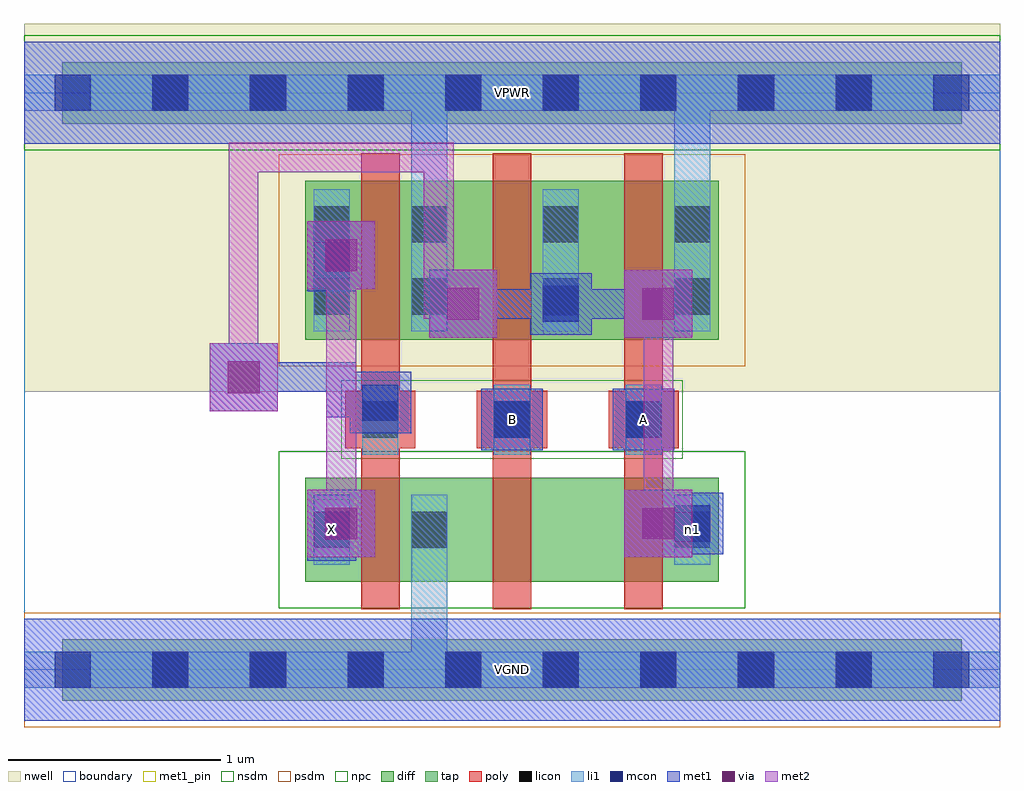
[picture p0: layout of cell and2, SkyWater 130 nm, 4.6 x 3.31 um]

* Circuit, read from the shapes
.subckt and2 A B VGND VPWR X n1
XM1 VGND n1 X VGND sky130_fd_pr__nfet_01v8 w=0.49 l=0.18
XM2 n2 B VGND VGND sky130_fd_pr__nfet_01v8 w=0.49 l=0.18
XM3 n1 A n2 VGND sky130_fd_pr__nfet_01v8 w=0.49 l=0.18
XM4 VPWR n1 X VPWR sky130_fd_pr__pfet_01v8 w=0.75 l=0.18
XM5 n1 B VPWR VPWR sky130_fd_pr__pfet_01v8 w=0.75 l=0.18
XM6 VPWR A n1 VPWR sky130_fd_pr__pfet_01v8 w=0.75 l=0.18
.ends

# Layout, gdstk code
import gdstk
lib = gdstk.Library(unit=1e-6, precision=1e-09)
def R(c, l, rs):  # rectangles x0, y0, x1, y1
    for r in rs: c.add(gdstk.rectangle(r[:2], r[2:], *l))
def A(c, l, x, y, w, h, nx, ny, dx, dy):  # array of equal rectangles
    R(c, l, [(x+i*dx, y+j*dy, x+i*dx+w, y+j*dy+h) for i in range(nx) for j in range(ny)])
nwell = (64, 20)
diff = (65, 20)
tap = (65, 44)
poly = (66, 20)
licon = (66, 44)
li1 = (67, 20)
mcon = (67, 44)
met1_pin = (68, 16)
met1 = (68, 20)
via = (68, 44)
met2 = (69, 20)
nsdm = (93, 44)
psdm = (94, 20)
npc = (95, 20)
boundary = (235, 4)

and2 = lib.new_cell('and2')
R(and2, nwell, [(0,1.31,4.6,3.045)])
R(and2, diff, [(1.325,0.415,3.275,0.905), (1.325,1.555,3.275,2.305)])
R(and2, tap, [(0.18,-0.145,4.42,0.145), (0.18,2.575,4.42,2.865)])
A(and2, poly, 1.59, 0.285, 0.18, 2.15, 3, 1, 0.62, 0)
A(and2, poly, 1.515, 1.045, 0.33, 0.27, 3, 1, 0.62, 0)
A(and2, licon, 0.605, -0.085, 0.17, 0.17, 8, 2, 0.46, 2.72)
A(and2, licon, 1.595, 1.095, 0.17, 0.17, 3, 1, 0.62, 0)
A(and2, licon, 1.825, 1.675, 0.17, 0.17, 3, 2, 0.62, 0.34)
R(and2, licon, [(1.365,0.575,1.535,0.745), (1.825,0.575,1.995,0.745), (3.065,0.575,3.235,0.745), (1.365,1.675,1.535,1.845), (1.365,2.015,1.535,2.185)])
A(and2, li1, 1.595, 1.015, 0.17, 0.33, 3, 1, 0.62, 0)
A(and2, li1, 1.825, 1.595, 0.17, 0.67, 3, 1, 0.62, 0)
R(and2, li1, [(0,-0.085,4.6,0.085), (1.825,-0.085,1.995,0.825), (1.365,0.495,1.535,0.825), (1.825,0.495,1.995,0.825), (3.065,0.495,3.235,0.825), (1.365,1.595,1.535,2.265), (1.825,1.595,1.995,2.805), (3.065,1.595,3.235,2.805), (0,2.635,4.6,2.805)])
A(and2, mcon, 0.145, -0.085, 0.17, 0.17, 10, 2, 0.46, 2.72)
R(and2, mcon, [(1.365,0.575,1.535,0.745), (3.065,0.605,3.235,0.775), (2.215,1.095,2.385,1.265), (2.835,1.095,3.005,1.265), (1.595,1.175,1.765,1.345), (2.445,1.64,2.615,1.81), (1.365,1.845,1.535,2.015)])
R(and2, met1_pin, [(0,-0.24,4.6,0.24), (1.335,0.515,1.565,0.805), (2.155,1.035,2.445,1.325), (2.775,1.035,3.065,1.325), (0,2.48,4.6,2.96)])
R(and2, met1, [(0,-0.24,4.6,0.24), (1.335,0.515,1.565,0.805), (1.335,0.53,1.655,0.85), (2.83,0.53,3.15,0.85), (3.005,0.545,3.295,0.835), (1.425,0.62,1.565,0.76), (2.92,0.62,3.22,0.76), (2.155,1.035,2.445,1.325), (2.775,1.035,3.065,1.325), (1.535,1.115,1.825,1.405), (1.425,1.19,1.75,1.33), (1.425,1.19,1.565,1.45), (0.875,1.22,1.195,1.54), (0.965,1.31,1.565,1.45), (1.91,1.565,2.23,1.885), (2.83,1.565,3.15,1.885), (2.385,1.58,2.675,1.87), (2,1.655,2.6,1.795), (2.46,1.655,3.06,1.795), (1.335,1.785,1.565,2.075), (1.335,1.795,1.655,2.115), (1.425,1.885,1.565,2.025), (0,2.48,4.6,2.96)])
R(and2, via, [(1.42,0.615,1.57,0.765), (2.915,0.615,3.065,0.765), (0.96,1.305,1.11,1.455), (1.995,1.65,2.145,1.8), (2.915,1.65,3.065,1.8), (1.42,1.88,1.57,2.03)])
R(and2, met2, [(1.335,0.53,1.655,0.85), (2.83,0.53,3.15,0.85), (1.425,0.62,1.565,2.025), (2.92,0.62,3.06,1.795), (0.875,1.22,1.195,1.54), (0.965,1.31,1.105,2.485), (1.91,1.565,2.23,1.885), (2.83,1.565,3.15,1.885), (1.885,1.655,2.14,1.795), (1.885,1.655,2.025,2.485), (1.335,1.795,1.655,2.115), (0.965,2.345,2.025,2.485)])
R(and2, nsdm, [(1.2,0.29,3.4,1.03), (0,2.45,4.6,2.99)])
R(and2, psdm, [(0,-0.27,4.6,0.27), (1.2,1.43,3.4,2.43)])
R(and2, npc, [(1.495,0.995,3.105,1.365)])
R(and2, boundary, [(0,0,4.6,2.72)])
and2.add(gdstk.Label('n1', (3.15,0.66), layer=67, texttype=5))
and2.add(gdstk.Label('A', (2.92,1.18), layer=68, texttype=5))
and2.add(gdstk.Label('B', (2.3,1.18), layer=68, texttype=5))
and2.add(gdstk.Label('X', (1.45,0.66), layer=68, texttype=5))
and2.add(gdstk.Label('VPWR', (2.3,2.72), layer=68, texttype=5))
and2.add(gdstk.Label('VGND', (2.3,0), layer=68, texttype=5))
and2.add(gdstk.Label('A', (2.92,1.18), layer=68, texttype=16))
and2.add(gdstk.Label('B', (2.3,1.18), layer=68, texttype=16))
and2.add(gdstk.Label('X', (1.45,0.66), layer=68, texttype=16))
and2.add(gdstk.Label('VPWR', (2.3,2.72), layer=68, texttype=16))
and2.add(gdstk.Label('VGND', (2.3,0), layer=68, texttype=16))

lib.write_gds('and2.gds')
